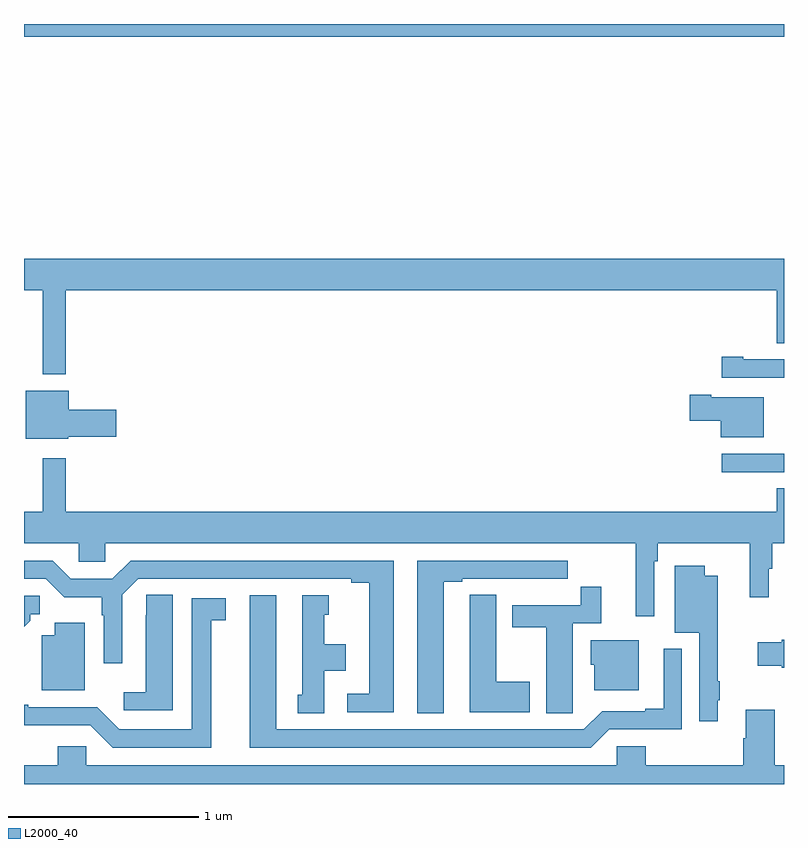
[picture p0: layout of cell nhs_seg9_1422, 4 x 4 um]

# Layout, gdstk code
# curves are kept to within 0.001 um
import gdstk
lib = gdstk.Library(unit=1e-6, precision=1e-09)
def R(c, l, rs):  # rectangles x0, y0, x1, y1
    for r in rs: c.add(gdstk.rectangle(r[:2], r[2:], *l))
def P(c, l, *ps):  # polygons
    for p in ps: c.add(gdstk.Polygon(p, *l))
L2000_40 = (2000, 40)

nhs_seg9_1422 = lib.new_cell('nhs_seg9_1422')
R(nhs_seg9_1422, L2000_40, [(194.673,1182.141,195,1182.237), (191,1184.432,195,1184.5)])
P(nhs_seg9_1422, L2000_40, [(191.221,1183.1),(194.963,1183.1),(194.963,1182.82),(195,1182.82),(195,1183.264),(191,1183.264),(191,1183.1),(191.099,1183.1),(191.099,1182.656),(191.221,1182.656)],
  [(195,1182.735),(194.785,1182.735),(194.785,1182.748),(194.673,1182.748),(194.673,1182.639),(195,1182.639)],
  [(191.232,1182.328),(191.485,1182.328),(191.485,1182.47),(191.236,1182.47),(191.236,1182.571),(191.009,1182.571),(191.009,1182.317),(191.232,1182.317)],
  [(194.893,1182.535),(194.617,1182.535),(194.617,1182.548),(194.505,1182.548),(194.505,1182.413),(194.666,1182.413),(194.666,1182.326),(194.893,1182.326)],
  [(194.316,1181.672),(194.336,1181.672),(194.336,1181.768),(194.821,1181.768),(194.821,1181.484),(194.92,1181.484),(194.92,1181.634),(194.939,1181.634),(194.939,1181.768),(195,1181.768),(195,1182.056),(194.963,1182.056),(194.963,1181.932),(191.221,1181.932),(191.221,1182.214),(191.099,1182.214),(191.099,1181.932),(191,1181.932),(191,1181.768),(191.289,1181.768),(191.289,1181.67),(191.427,1181.67),(191.427,1181.768),(194.219,1181.768),(194.219,1181.382),(194.316,1181.382)],
  [(192.946,1181.676),(191.561,1181.676),(191.465,1181.58),(191.247,1181.58),(191.151,1181.676),(191,1181.676),(191,1181.58),(191.115,1181.58),(191.212,1181.483),(191.409,1181.483),(191.409,1181.387),(191.421,1181.387),(191.421,1181.136),(191.517,1181.136),(191.517,1181.496),(191.601,1181.58),(192.722,1181.58),(192.722,1181.56),(192.818,1181.56),(192.818,1180.974),(192.702,1180.974),(192.702,1180.878),(192.946,1180.878)],
  [(193.21,1181.565),(193.306,1181.565),(193.306,1181.58),(193.582,1181.58),(193.582,1181.579),(193.748,1181.579),(193.748,1181.58),(193.861,1181.58),(193.861,1181.676),(193.07,1181.676),(193.07,1180.873),(193.21,1180.873)],
  [(194.65,1180.942),(194.662,1180.942),(194.662,1181.042),(194.651,1181.042),(194.651,1181.301),(194.65,1181.301),(194.65,1181.596),(194.584,1181.596),(194.584,1181.65),(194.426,1181.65),(194.426,1181.297),(194.553,1181.297),(194.553,1180.83),(194.65,1180.83)],
  [(193.887,1180.984),(193.888,1180.984),(193.888,1181.346),(194.039,1181.346),(194.039,1181.539),(193.93,1181.539),(193.93,1181.442),(193.571,1181.442),(193.571,1181.326),(193.748,1181.326),(193.748,1180.873),(193.887,1180.873)],
  [(193.663,1181.037),(193.486,1181.037),(193.486,1181.495),(193.347,1181.495),(193.347,1181.387),(193.346,1181.387),(193.346,1180.877),(193.663,1180.877)],
  [(191.782,1181.495),(191.643,1181.495),(191.643,1181.387),(191.642,1181.387),(191.642,1180.984),(191.526,1180.984),(191.526,1180.887),(191.782,1180.887)],
  [(194.079,1180.788),(194.463,1180.788),(194.463,1181.212),(194.366,1181.212),(194.366,1180.897),(194.27,1180.897),(194.27,1180.884),(194.043,1180.884),(193.947,1180.788),(192.328,1180.788),(192.328,1181.494),(192.188,1181.494),(192.188,1180.692),(193.983,1180.692)],
  [(192.58,1181.096),(192.694,1181.096),(192.694,1181.236),(192.58,1181.236),(192.58,1181.391),(192.604,1181.391),(192.604,1181.494),(192.464,1181.494),(192.464,1180.971),(192.44,1180.971),(192.44,1180.873),(192.58,1180.873)],
  [(191.032,1181.359),(191.032,1181.394),(191.083,1181.394),(191.083,1181.49),(191,1181.49),(191,1181.327)],
  [(191.986,1181.362),(192.061,1181.362),(192.061,1181.478),(191.882,1181.478),(191.882,1180.788),(191.502,1180.788),(191.385,1180.905),(191.023,1180.905),(191.023,1180.918),(191,1180.918),(191,1180.808),(191.349,1180.809),(191.466,1180.692),(191.986,1180.692)],
  [(191.32,1181.35),(191.162,1181.35),(191.162,1181.284),(191.093,1181.284),(191.093,1180.994),(191.32,1180.994)],
  [(195,1181.258),(194.988,1181.258),(194.988,1181.245),(194.862,1181.245),(194.862,1181.123),(194.988,1181.123),(194.988,1181.111),(195,1181.111)],
  [(194.236,1181.257),(193.982,1181.257),(193.982,1181.127),(194,1181.127),(194,1180.994),(194.236,1180.994)],
  [(195,1180.6),(194.951,1180.6),(194.951,1180.891),(194.798,1180.891),(194.798,1180.742),(194.786,1180.742),(194.786,1180.6),(194.273,1180.6),(194.273,1180.698),(194.121,1180.698),(194.121,1180.6),(191.328,1180.6),(191.328,1180.698),(191.177,1180.698),(191.177,1180.6),(191,1180.6),(191,1180.5),(195,1180.5)])

lib.write_gds('nhs_seg9_1422.gds')
